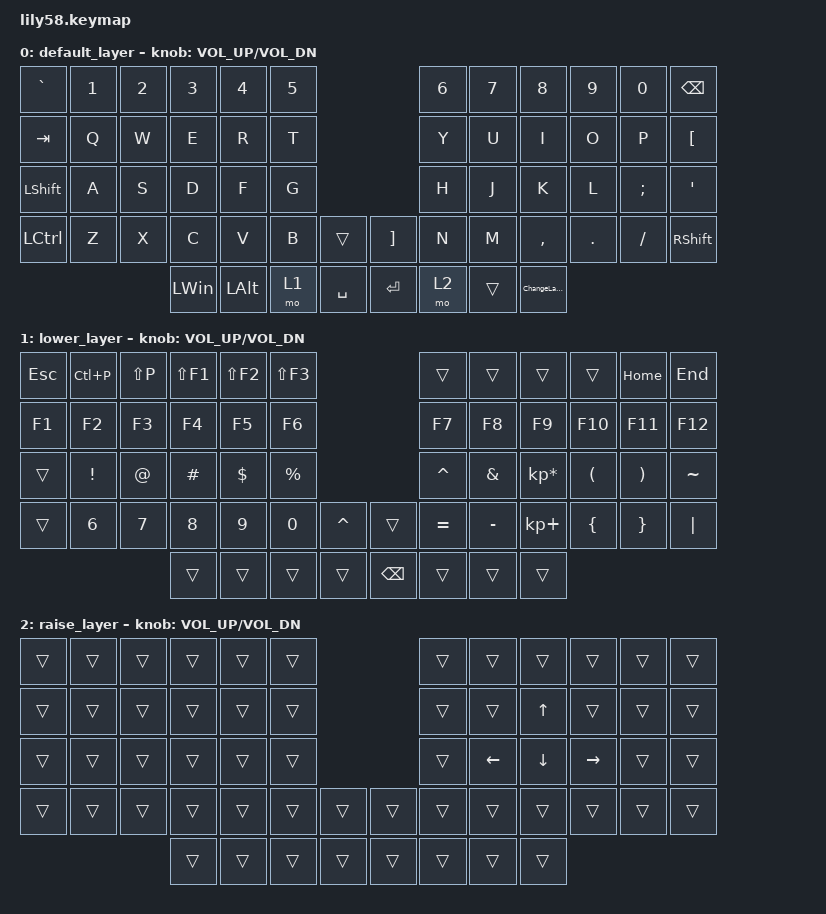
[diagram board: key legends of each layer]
/*
 * Copyright (c) 2020 The ZMK Contributors
 *
 * SPDX-License-Identifier: MIT
 */

#include <behaviors.dtsi>
#include <dt-bindings/zmk/keys.h>
#include <dt-bindings/zmk/keys.h>

/ {
    macros {
        ChangeLayout: ChangeLayout {
            compatible = "zmk,behavior-macro";
            #binding-cells = <0>;
            bindings = <&kt LEFT_ALT &kp LEFT_SHIFT &kt LEFT_ALT>;
            label = "CHANGELAYOUT";
        };
    };

    keymap {
        compatible = "zmk,keymap";

        default_layer {
            // ------------------------------------------------------------------------------------------------------------
            // |  ESC  |  1  |  2  |  3   |  4   |  5   |                   |  6   |  7    |  8    |  9   |   0   |   `   |
            // |  TAB  |  Q  |  W  |  E   |  R   |  T   |                   |  Y   |  U    |  I    |  O   |   P   |   -   |
            // |  CTRL |  A  |  S  |  D   |  F   |  G   |                   |  H   |  J    |  K    |  L   |   ;   |   '   |
            // | SHIFT |  Z  |  X  |  C   |  V   |  B   |   "["  |  |  "]"  |  N   |  M    |  ,    |  .   |   /   | SHIFT |
            //                     | ALT  | GUI  | LOWER|  SPACE |  | ENTER | RAISE| BSPC  | GUI   |

            bindings = <
&kp GRAVE       &kp N1  &kp N2  &kp N3        &kp N4        &kp N5                         &kp N6  &kp N7  &kp N8         &kp N9   &kp N0    &kp BACKSPACE
&kp TAB         &kp Q   &kp W   &kp E         &kp R         &kp T                          &kp Y   &kp U   &kp I          &kp O    &kp P     &kp LEFT_BRACKET
&kp LEFT_SHIFT  &kp A   &kp S   &kp D         &kp F         &kp G                          &kp H   &kp J   &kp K          &kp L    &kp SEMI  &kp SQT
&kp LCTRL       &kp Z   &kp X   &kp C         &kp V         &kp B   &trans       &kp RBKT  &kp N   &kp M   &kp COMMA      &kp DOT  &kp FSLH  &kp RSHFT
                                &kp LEFT_WIN  &kp LEFT_ALT  &mo 1   &kp SPACE    &kp RET   &mo 2   &trans  &ChangeLayout
            >;

            sensor-bindings = <&inc_dec_kp C_VOL_UP C_VOL_DN>;
        };

        lower_layer {
            // --------------------------------------------------------------------------------------------------------------
            // | LPAD  | BRDn | BRUp |  MUT |  Vo- |  Vo+ |                   |      |       |       |      |       |       |
            // |  F1   |  F2  |  F3  |  F4  |  F5  |  F6  |                   |  F7  |  F8   |  F9   |  F10 |  F11  |  F12  |
            // |   `   |  !   |  @   |  #   |  $   |  %   |                   |  ^   |  &    |  *    |  (   |   )   |   ~   |
            // |       |      |      |      |      |      |        |  |       |      |  _    |  +    |  {   |   }   |  "|"  |
            //                       |      |      |      |        |  |       |      |       |       |

            bindings = <
&kp ESCAPE  &kp LC(P)     &kp LS(P)     &kp LS(F1)    &kp LS(F2)    &kp LS(F3)                                &trans     &trans     &trans           &trans    &kp HOME  &kp END
&kp F1      &kp F2        &kp F3        &kp F4        &kp F5        &kp F6                                    &kp F7     &kp F8     &kp F9           &kp F10   &kp F11   &kp F12
&trans      &kp EXCL      &kp AT        &kp HASH      &kp DOLLAR    &kp PRCNT                                 &kp CARET  &kp AMPS   &kp KP_MULTIPLY  &kp LPAR  &kp RPAR  &kp TILDE
&trans      &kp NUMBER_6  &kp NUMBER_7  &kp NUMBER_8  &kp NUMBER_9  &kp NUMBER_0  &kp CARET    &trans         &kp EQUAL  &kp MINUS  &kp KP_PLUS      &kp LBRC  &kp RBRC  &kp PIPE
                                        &trans        &trans        &trans        &trans       &kp BACKSPACE  &trans     &trans     &trans
            >;

            sensor-bindings = <&inc_dec_kp C_VOL_UP C_VOL_DN>;
        };

        raise_layer {
            // ------------------------------------------------------------------------------------------------------------
            // |       |     |     |      |      |      |                   |      |       |       |      |       |       |
            // |   `   |  1  |  2  |  3   |  4   |  5   |                   |  6   |   7   |   8   |  9   |   0   |       |
            // |   F1  |  F2 |  F3 |  F4  |  F5  |  F6  |                   |      |   <-  |   v   |  ^   |  ->   |       |
            // |   F7  |  F8 |  F9 |  F10 |  F11 |  F12 |        |  |       |  +   |   -   |   =   |  [   |   ]   |   \   |
            //                     |      |      |      |        |  |       |      |       |       |

            bindings = <
&trans  &trans  &trans  &trans  &trans  &trans                    &trans  &trans          &trans          &trans           &trans  &trans
&trans  &trans  &trans  &trans  &trans  &trans                    &trans  &trans          &kp UP_ARROW    &trans           &trans  &trans
&trans  &trans  &trans  &trans  &trans  &trans                    &trans  &kp LEFT_ARROW  &kp DOWN_ARROW  &kp RIGHT_ARROW  &trans  &trans
&trans  &trans  &trans  &trans  &trans  &trans  &trans    &trans  &trans  &trans          &trans          &trans           &trans  &trans
                        &trans  &trans  &trans  &trans    &trans  &trans  &trans          &trans
            >;

            sensor-bindings = <&inc_dec_kp C_VOL_UP C_VOL_DN>;
        };
    };
};
